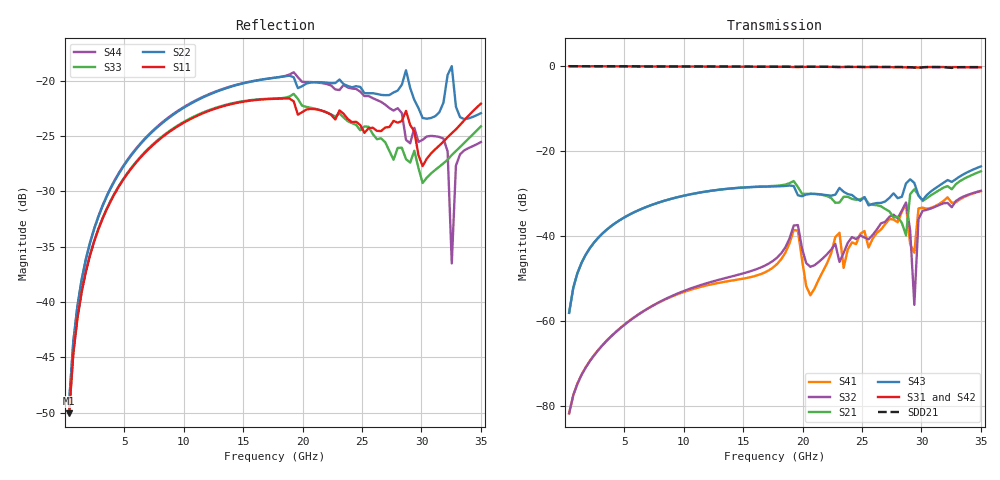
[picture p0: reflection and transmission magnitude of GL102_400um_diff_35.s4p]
! Created Thu Apr 22 17:24:07 2021
! List of port names and net name(s): example Port n = <port_name> <net_name1> <net_name2> ...
! Port 1 = P1 P3 gnd!
! Port 2 = P2 N__0 gnd!
! Port 3 = P3 P3 P7
! Port 4 = P4 N__0 P8
# hz S ri R 50
! 4 Port Network Data from data block
! freq  reS11  imS11  reS12  imS12  reS13  imS13  reS14  imS14
!  reS21  imS21  reS22  imS22  reS23  imS23  reS24  imS24
!  reS31  imS31  reS32  imS32  reS33  imS33  reS34  imS34
!  reS41  imS41  reS42  imS42  reS43  imS43  reS44  imS44
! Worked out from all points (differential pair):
!   100 points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, 350 MHz to 35 GHz, reference 50 ohm
!   strongest paths, dB at 350 MHz, 9.1 GHz, 17.85 GHz, 26.6 GHz, 35 GHz:
!     S31: 0.0, -0.1, -0.1, -0.2, -0.3
!     S42: 0.0, -0.1, -0.2, -0.2, -0.3
!     S43: -58.1, -31.1, -28.3, -32.2, -23.6
!     S21: -58.1, -31.1, -28.2, -33.0, -24.8
!     S32: -81.8, -54.0, -45.1, -37.0, -29.4
!     S41: -81.7, -54.1, -46.6, -38.5, -29.4
!   taken as a pair (ports 1,2 in; 3,4 out), SDD21 dB: 0.0, -0.1, -0.1, -0.2, -0.2
!   lowest |S11| = -50.0 dB at 350 MHz (marker M1), VSWR 1.01, Z = 50.1 + j0.306 ohm
!   |S11| at or under -10 dB: start of sweep to end of sweep
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3.5e8  0.000737 0.00306  9.97e-05 0.00124  0.9987 -0.0305  -4.63e-05 -6.74e-05
       9.97e-05 0.00124  0.000747 0.00344  -4.61e-05 -6.74e-05  0.9987 -0.0305
       0.9987 -0.0305  -4.61e-05 -6.74e-05  0.000751 0.00306  7.69e-05 0.00124
       -4.63e-05 -6.74e-05  0.9987 -0.0305  7.69e-05 0.00124  0.000774 0.00344
9.8e9  0.0436 0.0465  0.0262 0.0133  0.6683 -0.7303  -0.00186 0.00106
       0.0262 0.0133  0.0484 0.0565  -0.00199 0.000912  0.668 -0.7297
       0.6683 -0.7303  -0.00199 0.000912  0.0521 0.0377  0.0161 0.0246
       -0.00186 0.00106  0.668 -0.7297  0.0161 0.0246  0.0624 0.0415
2.065e10  0.0734 0.0134  0.018 -0.0257  -0.1777 -0.9654  -0.000607 0.00191
          0.018 -0.0257  0.0955 0.0226  -0.000995 0.00422  -0.1742 -0.964
          -0.1777 -0.9654  -0.000995 0.00422  0.0657 -0.0375  0.0267 0.0163
          -0.000607 0.00191  -0.1742 -0.964  0.0267 0.0163  0.0829 -0.0536
2.87e10  0.0724 0.0105  -0.00413 -0.00929  -0.7544 -0.6021  0.00226 0.0235
         -0.00413 -0.00929  0.1116 0.00186  0.00407 0.0245  -0.7405 -0.5922
         -0.7544 -0.6021  0.00407 0.0245  -0.0215 -0.0387  0.00897 0.0406
         0.00226 0.0235  -0.7405 -0.5922  0.00897 0.0406  -0.0254 -0.0477
2.94e10  0.059 -0.00021  -0.0343 -0.00905  -0.7895 -0.5585  -0.00592 -0.00234
         -0.0343 -0.00905  0.081 -0.0119  -0.000816 0.00131  -0.7807 -0.5695
         -0.7895 -0.5585  -0.000816 0.00131  -0.0291 -0.0385  0.0283 0.0313
         -0.00592 -0.00234  -0.7807 -0.5695  0.0283 0.0313  -0.0178 -0.0586
3.01e10  0.0402 0.00912  -0.0254 0.0044  -0.8212 -0.5204  -0.0144 0.016
         -0.0254 0.0044  0.0678 -0.00406  -0.012 0.0158  -0.818 -0.5247
         -0.8212 -0.5204  -0.012 0.0158  -0.0269 -0.0217  0.0122 0.0235
         -0.0144 0.016  -0.818 -0.5247  0.0122 0.0235  -0.0215 -0.0497
3.5e10  0.0612 0.0496  -0.0185 0.0548  -0.9626 -0.0976  0.000477 0.0338
        -0.0185 0.0548  0.0695 0.0161  0.0039 0.0338  -0.9609 -0.1189
        -0.9626 -0.0976  0.0039 0.0338  -0.0508 0.036  0.0159 0.0641
        0.000477 0.0338  -0.9609 -0.1189  0.0159 0.0641  -0.0528 0.0029
